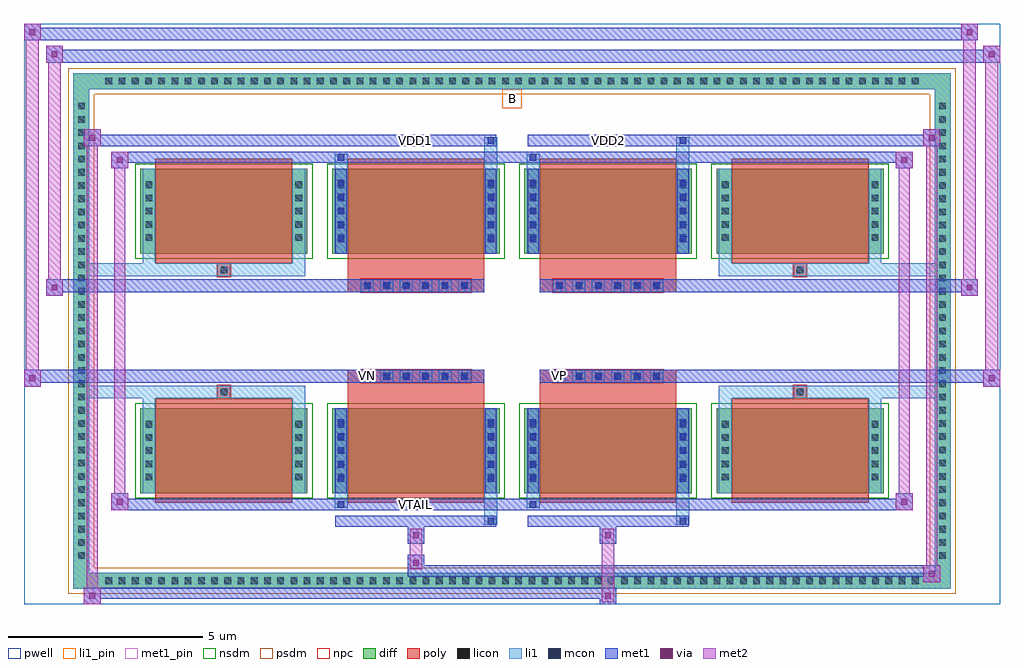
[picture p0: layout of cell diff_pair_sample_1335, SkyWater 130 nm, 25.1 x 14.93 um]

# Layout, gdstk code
import gdstk
lib = gdstk.Library(unit=1e-6, precision=5e-09)
def R(c, l, rs):  # rectangles x0, y0, x1, y1
    for r in rs: c.add(gdstk.rectangle(r[:2], r[2:], *l))
def A(c, l, x, y, w, h, nx, ny, dx, dy):  # array of equal rectangles
    R(c, l, [(x+i*dx, y+j*dy, x+i*dx+w, y+j*dy+h) for i in range(nx) for j in range(ny)])
def P(c, l, *ps):  # polygons
    for p in ps: c.add(gdstk.Polygon(p, *l))
pwell = (64, 44)
diff = (65, 20)
poly = (66, 20)
licon = (66, 44)
li1_pin = (67, 16)
li1 = (67, 20)
mcon = (67, 44)
met1_pin = (68, 16)
met1 = (68, 20)
via = (68, 44)
met2 = (69, 20)
nsdm = (93, 44)
psdm = (94, 20)
npc = (95, 20)

diff_pair_sample_1335 = lib.new_cell('diff_pair_sample_1335')
R(diff_pair_sample_1335, pwell, [(-12.55,-7.03,12.55,7.9), (-9.87,-5.22,-0.01,-0.8), (0.01,-5.22,9.87,-0.8), (-9.87,0.8,-0.01,5.22), (0.01,0.8,9.87,5.22)])
A(diff_pair_sample_1335, diff, -10.575, -6.63, 0.41, 0.41, 62, 2, 0.34, 12.85)
A(diff_pair_sample_1335, diff, -11.28, -5.985, 0.41, 0.41, 1, 35, 0, 0.34)
A(diff_pair_sample_1335, diff, 10.87, -5.985, 0.41, 0.41, 1, 35, 0, 0.34)
A(diff_pair_sample_1335, diff, -9.56, -4.175, 4.3, 2.19, 4, 2, 4.94, 6.16)
R(diff_pair_sample_1335, diff, [(-10.575,-6.63,10.575,-6.22), (-11.28,-5.985,-10.87,5.985), (10.87,-5.985,11.28,5.985), (-10.575,6.22,10.575,6.63)])
P(diff_pair_sample_1335, diff, [(11.28,6.63),(-11.28,6.63),(-11.28,-6.22),(-10.87,-6.22),(-10.87,6.22),(10.87,6.22),(10.87,-6.22),(-10.87,-6.22),(-11.28,-6.22),(-11.28,-6.63),(11.28,-6.63)])
A(diff_pair_sample_1335, poly, -9.17, -4.425, 3.52, 2.69, 4, 2, 4.94, 6.16)
A(diff_pair_sample_1335, poly, -3.885, -1.33, 0.33, 0.33, 6, 2, 0.5, 2.33)
A(diff_pair_sample_1335, poly, 1.055, -1.33, 0.33, 0.33, 6, 2, 0.5, 2.33)
R(diff_pair_sample_1335, poly, [(-7.575,-1.735,-7.245,-1.405), (-7.575,-1.735,-7.245,-1.405), (-4.23,-1.735,-0.71,-1.33), (0.71,-1.735,4.23,-1.33), (7.245,-1.735,7.575,-1.405), (7.245,-1.735,7.575,-1.405), (-4.23,-1.33,-0.71,-1), (0.71,-1.33,4.23,-1), (-4.23,1,-0.71,1.33), (0.71,1,4.23,1.33), (-4.23,1.33,-0.71,1.735), (0.71,1.33,4.23,1.735), (-7.575,1.405,-7.245,1.735), (-7.575,1.405,-7.245,1.735), (7.245,1.405,7.575,1.735), (7.245,1.405,7.575,1.735)])
A(diff_pair_sample_1335, licon, -10.455, -6.51, 0.17, 0.17, 62, 2, 0.34, 12.85)
A(diff_pair_sample_1335, licon, -11.16, -5.865, 0.17, 0.17, 1, 35, 0, 0.34)
A(diff_pair_sample_1335, licon, 10.99, -5.865, 0.17, 0.17, 1, 35, 0, 0.34)
A(diff_pair_sample_1335, licon, -9.42, -3.845, 0.17, 0.17, 1, 5, 0, 0.34)
A(diff_pair_sample_1335, licon, -5.57, -3.845, 0.17, 0.17, 1, 5, 0, 0.34)
A(diff_pair_sample_1335, licon, -4.48, -3.845, 0.17, 0.17, 1, 5, 0, 0.34)
A(diff_pair_sample_1335, licon, -0.63, -3.845, 0.17, 0.17, 1, 5, 0, 0.34)
A(diff_pair_sample_1335, licon, 0.46, -3.845, 0.17, 0.17, 1, 5, 0, 0.34)
A(diff_pair_sample_1335, licon, 4.31, -3.845, 0.17, 0.17, 1, 5, 0, 0.34)
A(diff_pair_sample_1335, licon, 5.4, -3.845, 0.17, 0.17, 1, 5, 0, 0.34)
A(diff_pair_sample_1335, licon, 9.25, -3.845, 0.17, 0.17, 1, 5, 0, 0.34)
A(diff_pair_sample_1335, licon, -3.805, -1.25, 0.17, 0.17, 6, 2, 0.5, 2.33)
A(diff_pair_sample_1335, licon, 1.135, -1.25, 0.17, 0.17, 6, 2, 0.5, 2.33)
A(diff_pair_sample_1335, licon, -9.42, 2.315, 0.17, 0.17, 1, 5, 0, 0.34)
A(diff_pair_sample_1335, licon, -5.57, 2.315, 0.17, 0.17, 1, 5, 0, 0.34)
A(diff_pair_sample_1335, licon, -4.48, 2.315, 0.17, 0.17, 1, 5, 0, 0.34)
A(diff_pair_sample_1335, licon, -0.63, 2.315, 0.17, 0.17, 1, 5, 0, 0.34)
A(diff_pair_sample_1335, licon, 0.46, 2.315, 0.17, 0.17, 1, 5, 0, 0.34)
A(diff_pair_sample_1335, licon, 4.31, 2.315, 0.17, 0.17, 1, 5, 0, 0.34)
A(diff_pair_sample_1335, licon, 5.4, 2.315, 0.17, 0.17, 1, 5, 0, 0.34)
A(diff_pair_sample_1335, licon, 9.25, 2.315, 0.17, 0.17, 1, 5, 0, 0.34)
R(diff_pair_sample_1335, licon, [(-7.495,-1.655,-7.325,-1.485), (7.325,-1.655,7.495,-1.485), (-7.495,1.485,-7.325,1.655), (7.325,1.485,7.495,1.655)])
R(diff_pair_sample_1335, li1_pin, [(-0.25,5.72,0.25,6.22)])
A(diff_pair_sample_1335, li1, -10.535, -6.59, 0.33, 0.33, 62, 2, 0.34, 12.85)
A(diff_pair_sample_1335, li1, -11.24, -5.945, 0.33, 0.33, 1, 35, 0, 0.34)
A(diff_pair_sample_1335, li1, 10.91, -5.945, 0.33, 0.33, 1, 35, 0, 0.34)
A(diff_pair_sample_1335, li1, -9.5, -3.925, 0.33, 0.33, 1, 5, 0, 0.34)
A(diff_pair_sample_1335, li1, -5.65, -3.925, 0.33, 0.33, 1, 5, 0, 0.34)
A(diff_pair_sample_1335, li1, -4.56, -3.925, 0.33, 0.33, 1, 5, 0, 0.34)
A(diff_pair_sample_1335, li1, -0.71, -3.925, 0.33, 0.33, 1, 5, 0, 0.34)
A(diff_pair_sample_1335, li1, 0.38, -3.925, 0.33, 0.33, 1, 5, 0, 0.34)
A(diff_pair_sample_1335, li1, 4.23, -3.925, 0.33, 0.33, 1, 5, 0, 0.34)
A(diff_pair_sample_1335, li1, 5.32, -3.925, 0.33, 0.33, 1, 5, 0, 0.34)
A(diff_pair_sample_1335, li1, 9.17, -3.925, 0.33, 0.33, 1, 5, 0, 0.34)
A(diff_pair_sample_1335, li1, -4.48, -3.885, 0.17, 0.17, 1, 5, 0, 0.36)
A(diff_pair_sample_1335, li1, -0.63, -3.885, 0.17, 0.17, 1, 5, 0, 0.36)
A(diff_pair_sample_1335, li1, 0.46, -3.885, 0.17, 0.17, 1, 5, 0, 0.36)
A(diff_pair_sample_1335, li1, 4.31, -3.885, 0.17, 0.17, 1, 5, 0, 0.36)
A(diff_pair_sample_1335, li1, -3.885, -1.33, 0.33, 0.33, 6, 2, 0.5, 2.33)
A(diff_pair_sample_1335, li1, 1.055, -1.33, 0.33, 0.33, 6, 2, 0.5, 2.33)
A(diff_pair_sample_1335, li1, -9.5, 2.235, 0.33, 0.33, 1, 5, 0, 0.34)
A(diff_pair_sample_1335, li1, -5.65, 2.235, 0.33, 0.33, 1, 5, 0, 0.34)
A(diff_pair_sample_1335, li1, -4.56, 2.235, 0.33, 0.33, 1, 5, 0, 0.34)
A(diff_pair_sample_1335, li1, -0.71, 2.235, 0.33, 0.33, 1, 5, 0, 0.34)
A(diff_pair_sample_1335, li1, 0.38, 2.235, 0.33, 0.33, 1, 5, 0, 0.34)
A(diff_pair_sample_1335, li1, 4.23, 2.235, 0.33, 0.33, 1, 5, 0, 0.34)
A(diff_pair_sample_1335, li1, 5.32, 2.235, 0.33, 0.33, 1, 5, 0, 0.34)
A(diff_pair_sample_1335, li1, 9.17, 2.235, 0.33, 0.33, 1, 5, 0, 0.34)
A(diff_pair_sample_1335, li1, -4.48, 2.275, 0.17, 0.17, 1, 5, 0, 0.36)
A(diff_pair_sample_1335, li1, -0.63, 2.275, 0.17, 0.17, 1, 5, 0, 0.36)
A(diff_pair_sample_1335, li1, 0.46, 2.275, 0.17, 0.17, 1, 5, 0, 0.36)
A(diff_pair_sample_1335, li1, 4.31, 2.275, 0.17, 0.17, 1, 5, 0, 0.36)
R(diff_pair_sample_1335, li1, [(-11.28,-6.63,-10.87,-6.22), (-11.28,-6.63,-10.87,-6.22), (-10.87,-6.63,10.87,-6.22), (10.87,-6.63,11.28,-6.22), (10.87,-6.63,11.28,-6.22), (-11.28,-6.22,-10.87,6.22), (10.87,-6.22,11.28,6.22), (-0.71,-4.98,-0.38,-4.175), (-0.63,-4.98,-0.46,-4.81), (4.23,-4.98,4.56,-4.175), (4.31,-4.98,4.48,-4.81), (-4.56,-4.55,-4.23,-4.175), (-4.48,-4.55,-4.31,-4.38), (0.38,-4.55,0.71,-4.175), (0.46,-4.55,0.63,-4.38), (-9.5,-4.175,-9.17,-1.985), (-5.65,-4.175,-5.32,-1.985), (-4.56,-4.175,-4.23,-1.985), (-0.71,-4.175,-0.38,-1.985), (0.38,-4.175,0.71,-1.985), (4.23,-4.175,4.56,-1.985), (5.32,-4.175,5.65,-1.985), (9.17,-4.175,9.5,-1.985), (-4.48,-3.885,-4.31,-2.275), (-0.63,-3.885,-0.46,-2.275), (0.46,-3.885,0.63,-2.275), (4.31,-3.885,4.48,-2.275), (-9.5,-1.985,-9.17,-1.405), (-5.65,-1.985,-5.32,-1.405), (5.32,-1.985,5.65,-1.405), (9.17,-1.985,9.5,-1.405), (-11.28,-1.735,-7.575,-1.405), (-9.5,-1.735,-7.575,-1.405), (-7.575,-1.735,-7.245,-1.405), (-7.245,-1.735,-5.32,-1.405), (5.32,-1.735,7.245,-1.405), (7.245,-1.735,7.575,-1.405), (7.245,-1.735,11.28,-1.405), (7.575,-1.735,9.5,-1.405), (-11.28,1.405,-7.575,1.735), (-9.5,1.405,-7.575,1.735), (-9.5,1.405,-9.17,1.985), (-7.575,1.405,-7.245,1.735), (-7.245,1.405,-5.32,1.735), (-5.65,1.405,-5.32,1.985), (5.32,1.405,7.245,1.735), (5.32,1.405,5.65,1.985), (7.245,1.405,7.575,1.735), (7.245,1.405,11.28,1.735), (7.575,1.405,9.5,1.735), (9.17,1.405,9.5,1.985), (-9.5,1.985,-9.17,4.175), (-5.65,1.985,-5.32,4.175), (-4.56,1.985,-4.23,4.175), (-0.71,1.985,-0.38,4.175), (0.38,1.985,0.71,4.175), (4.23,1.985,4.56,4.175), (5.32,1.985,5.65,4.175), (9.17,1.985,9.5,4.175), (-4.48,2.275,-4.31,3.885), (-0.63,2.275,-0.46,3.885), (0.46,2.275,0.63,3.885), (4.31,2.275,4.48,3.885), (-4.56,4.175,-4.23,4.55), (-0.71,4.175,-0.38,4.98), (0.38,4.175,0.71,4.55), (4.23,4.175,4.56,4.98), (-4.48,4.38,-4.31,4.55), (0.46,4.38,0.63,4.55), (-0.63,4.81,-0.46,4.98), (4.31,4.81,4.48,4.98), (-11.28,6.22,-10.87,6.63), (-11.28,6.22,-10.87,6.63), (-10.87,6.22,10.87,6.63), (10.87,6.22,11.28,6.63), (10.87,6.22,11.28,6.63)])
A(diff_pair_sample_1335, mcon, -4.48, -3.885, 0.17, 0.17, 1, 5, 0, 0.36)
A(diff_pair_sample_1335, mcon, -0.63, -3.885, 0.17, 0.17, 1, 5, 0, 0.36)
A(diff_pair_sample_1335, mcon, 0.46, -3.885, 0.17, 0.17, 1, 5, 0, 0.36)
A(diff_pair_sample_1335, mcon, 4.31, -3.885, 0.17, 0.17, 1, 5, 0, 0.36)
A(diff_pair_sample_1335, mcon, -3.805, -1.25, 0.17, 0.17, 6, 2, 0.5, 2.33)
A(diff_pair_sample_1335, mcon, 1.135, -1.25, 0.17, 0.17, 6, 2, 0.5, 2.33)
A(diff_pair_sample_1335, mcon, -4.48, 2.275, 0.17, 0.17, 1, 5, 0, 0.36)
A(diff_pair_sample_1335, mcon, -0.63, 2.275, 0.17, 0.17, 1, 5, 0, 0.36)
A(diff_pair_sample_1335, mcon, 0.46, 2.275, 0.17, 0.17, 1, 5, 0, 0.36)
A(diff_pair_sample_1335, mcon, 4.31, 2.275, 0.17, 0.17, 1, 5, 0, 0.36)
R(diff_pair_sample_1335, mcon, [(-0.63,-4.98,-0.46,-4.81), (4.31,-4.98,4.48,-4.81), (-4.48,-4.55,-4.31,-4.38), (0.46,-4.55,0.63,-4.38), (-4.48,4.38,-4.31,4.55), (0.46,4.38,0.63,4.55), (-0.63,4.81,-0.46,4.98), (4.31,4.81,4.48,4.98)])
R(diff_pair_sample_1335, met1_pin, [(-2.605,-4.59,-2.335,-4.32), (-3.855,-1.29,-3.585,-1.02), (1.085,-1.29,1.355,-1.02), (-2.605,4.77,-2.335,5.04), (2.335,4.77,2.605,5.04)])
A(diff_pair_sample_1335, met1, -4.54, -3.945, 0.29, 0.29, 1, 5, 0, 0.36)
A(diff_pair_sample_1335, met1, -0.69, -3.945, 0.29, 0.29, 1, 5, 0, 0.36)
A(diff_pair_sample_1335, met1, 0.4, -3.945, 0.29, 0.29, 1, 5, 0, 0.36)
A(diff_pair_sample_1335, met1, 4.25, -3.945, 0.29, 0.29, 1, 5, 0, 0.36)
A(diff_pair_sample_1335, met1, -3.865, -1.31, 0.29, 0.29, 6, 2, 0.5, 2.33)
A(diff_pair_sample_1335, met1, 1.075, -1.31, 0.29, 0.29, 6, 2, 0.5, 2.33)
A(diff_pair_sample_1335, met1, -4.54, 2.215, 0.29, 0.29, 1, 5, 0, 0.36)
A(diff_pair_sample_1335, met1, -0.69, 2.215, 0.29, 0.29, 1, 5, 0, 0.36)
A(diff_pair_sample_1335, met1, 0.4, 2.215, 0.29, 0.29, 1, 5, 0, 0.36)
A(diff_pair_sample_1335, met1, 4.25, 2.215, 0.29, 0.29, 1, 5, 0, 0.36)
R(diff_pair_sample_1335, met1, [(-11.01,-7.03,-10.58,-6.6), (2.255,-7.03,2.685,-6.6), (-11.01,-6.89,2.685,-6.6), (10.58,-6.46,11.01,-6.03), (-2.685,-6.32,11.01,-6.03), (-2.685,-6.18,-2.255,-5.75), (-2.685,-5.47,-2.255,-5.04), (2.255,-5.47,2.685,-5.04), (-4.54,-5.04,-0.4,-4.75), (-0.69,-5.04,-0.4,-4.75), (0.4,-5.04,4.54,-4.75), (4.25,-5.04,4.54,-4.75), (-10.3,-4.61,-9.87,-4.18), (-10.3,-4.61,-4.54,-4.32), (-4.54,-4.61,-4.25,-4.32), (-4.54,-4.61,-0.4,-4.32), (-0.4,-4.61,0.4,-4.32), (0.4,-4.61,0.69,-4.32), (0.4,-4.61,4.54,-4.32), (4.54,-4.61,10.3,-4.32), (9.87,-4.61,10.3,-4.18), (-4.54,-4.175,-4.25,-1.985), (-0.69,-4.175,-0.4,-1.985), (0.4,-4.175,0.69,-1.985), (4.25,-4.175,4.54,-1.985), (-12.55,-1.43,-12.12,-1), (12.12,-1.43,12.55,-1), (-12.55,-1.33,-0.71,-1), (-4.23,-1.33,-0.71,-1), (0.71,-1.33,4.23,-1), (0.71,-1.33,12.55,-1), (-11.98,0.9,-11.55,1.33), (11.55,0.9,11.98,1.33), (-11.98,1,-4.23,1.33), (-4.23,1,-0.71,1.33), (0.71,1,4.23,1.33), (4.23,1,11.98,1.33), (-4.54,1.985,-4.25,4.175), (-0.69,1.985,-0.4,4.175), (0.4,1.985,0.69,4.175), (4.25,1.985,4.54,4.175), (-10.3,4.18,-9.87,4.61), (9.87,4.18,10.3,4.61), (-10.3,4.32,-4.54,4.61), (-4.54,4.32,-4.25,4.61), (-4.54,4.32,-0.4,4.61), (-0.4,4.32,0.4,4.61), (0.4,4.32,0.69,4.61), (0.4,4.32,4.54,4.61), (4.54,4.32,10.3,4.61), (-11.01,4.75,-10.58,5.18), (-11.01,4.75,-4.54,5.04), (-4.54,4.75,-0.4,5.04), (-0.69,4.75,-0.4,5.04), (0.4,4.75,4.54,5.04), (4.25,4.75,4.54,5.04), (4.54,4.75,11.01,5.04), (10.58,4.75,11.01,5.18), (-11.98,6.9,-11.55,7.33), (-11.98,6.9,-9.87,7.23), (-9.87,6.9,9.87,7.23), (9.87,6.9,12.55,7.23), (12.12,6.9,12.55,7.33), (-12.55,7.47,-12.12,7.9), (-12.55,7.47,-9.87,7.8), (-9.87,7.47,9.87,7.8), (9.87,7.47,11.98,7.8), (11.55,7.47,11.98,7.9)])
R(diff_pair_sample_1335, via, [(-10.87,-6.89,-10.72,-6.74), (2.395,-6.89,2.545,-6.74), (10.72,-6.32,10.87,-6.17), (-2.545,-6.04,-2.395,-5.89), (-2.545,-5.33,-2.395,-5.18), (2.395,-5.33,2.545,-5.18), (-10.16,-4.47,-10.01,-4.32), (10.01,-4.47,10.16,-4.32), (-12.41,-1.29,-12.26,-1.14), (12.26,-1.29,12.41,-1.14), (-11.84,1.04,-11.69,1.19), (11.69,1.04,11.84,1.19), (-10.16,4.32,-10.01,4.47), (10.01,4.32,10.16,4.47), (-10.87,4.89,-10.72,5.04), (10.72,4.89,10.87,5.04), (-11.84,7.04,-11.69,7.19), (12.26,7.04,12.41,7.19), (-12.41,7.61,-12.26,7.76), (11.69,7.61,11.84,7.76)])
R(diff_pair_sample_1335, met2, [(-11.01,-7.03,-10.58,-6.6), (-10.94,-7.03,-10.65,5.18), (-10.65,-7.03,-10.58,-6.6), (-10.96,-6.98,-10.63,-6.65), (2.305,-6.98,2.635,-6.65), (2.305,-6.65,2.635,-5.42), (10.58,-6.46,11.01,-6.03), (10.65,-6.46,10.94,5.18), (10.94,-6.46,11.01,-6.03), (10.63,-6.41,10.96,-6.08), (-2.635,-6.13,-2.305,-5.8), (-2.635,-5.8,-2.305,-5.42), (-2.635,-5.42,-2.305,-5.09), (2.305,-5.42,2.635,-5.09), (-10.3,-4.61,-9.87,-4.18), (-10.23,-4.61,-9.94,4.61), (-9.94,-4.61,-9.87,-4.18), (9.87,-4.61,10.3,-4.18), (9.94,-4.61,10.23,4.61), (10.23,-4.61,10.3,-4.18), (-10.25,-4.56,-9.92,-4.23), (9.92,-4.56,10.25,-4.23), (-12.55,-1.43,-12.12,-1), (-12.5,-1.43,-12.17,7.9), (-12.17,-1.43,-12.12,-1), (12.12,-1.43,12.55,-1), (12.17,-1.43,12.5,7.33), (12.5,-1.43,12.55,-1), (-12.5,-1.38,-12.17,-1.05), (12.17,-1.38,12.5,-1.05), (-11.98,0.9,-11.55,1.33), (-11.93,0.9,-11.6,7.33), (-11.6,0.9,-11.55,1.33), (11.55,0.9,11.98,1.33), (11.6,0.9,11.93,7.9), (11.93,0.9,11.98,1.33), (-11.93,0.95,-11.6,1.28), (11.6,0.95,11.93,1.28), (-10.3,4.18,-9.87,4.61), (-9.94,4.18,-9.87,4.61), (9.87,4.18,10.3,4.61), (10.23,4.18,10.3,4.61), (-10.25,4.23,-9.92,4.56), (9.92,4.23,10.25,4.56), (-11.01,4.75,-10.58,5.18), (-10.65,4.75,-10.58,5.18), (10.58,4.75,11.01,5.18), (10.94,4.75,11.01,5.18), (-10.96,4.8,-10.63,5.13), (10.63,4.8,10.96,5.13), (-11.98,6.9,-11.55,7.33), (-11.6,6.9,-11.55,7.33), (12.12,6.9,12.55,7.33), (12.5,6.9,12.55,7.33), (-11.93,6.95,-11.6,7.28), (12.17,6.95,12.5,7.28), (-12.55,7.47,-12.12,7.9), (-12.17,7.47,-12.12,7.9), (11.55,7.47,11.98,7.9), (11.93,7.47,11.98,7.9), (-12.5,7.52,-12.17,7.85), (11.6,7.52,11.93,7.85)])
A(diff_pair_sample_1335, nsdm, -9.69, -4.305, 4.56, 2.45, 4, 2, 4.94, 6.16)
P(diff_pair_sample_1335, psdm, [(11.41,6.76),(-11.41,6.76),(-11.41,-6.09),(-10.74,-6.09),(-10.74,6.09),(10.74,6.09),(10.74,-6.09),(-10.74,-6.09),(-11.41,-6.09),(-11.41,-6.76),(11.41,-6.76)])
A(diff_pair_sample_1335, npc, -3.905, -1.35, 0.37, 0.37, 6, 2, 0.5, 2.33)
A(diff_pair_sample_1335, npc, 1.035, -1.35, 0.37, 0.37, 6, 2, 0.5, 2.33)
R(diff_pair_sample_1335, npc, [(-7.595,-1.755,-7.225,-1.385), (7.225,-1.755,7.595,-1.385), (-3.905,-1.35,-3.035,-0.98), (-3.905,-1.35,-3.035,-0.98), (-3.405,-1.35,-2.535,-0.98), (-3.405,-1.35,-2.535,-0.98), (-2.905,-1.35,-2.035,-0.98), (-2.905,-1.35,-2.035,-0.98), (-2.405,-1.35,-1.535,-0.98), (-2.405,-1.35,-1.535,-0.98), (-1.905,-1.35,-1.035,-0.98), (-1.905,-1.35,-1.035,-0.98), (1.035,-1.35,1.905,-0.98), (1.035,-1.35,1.905,-0.98), (1.535,-1.35,2.405,-0.98), (1.535,-1.35,2.405,-0.98), (2.035,-1.35,2.905,-0.98), (2.035,-1.35,2.905,-0.98), (2.535,-1.35,3.405,-0.98), (2.535,-1.35,3.405,-0.98), (3.035,-1.35,3.905,-0.98), (3.035,-1.35,3.905,-0.98), (-3.905,0.98,-3.035,1.35), (-3.905,0.98,-3.035,1.35), (-3.405,0.98,-2.535,1.35), (-3.405,0.98,-2.535,1.35), (-2.905,0.98,-2.035,1.35), (-2.905,0.98,-2.035,1.35), (-2.405,0.98,-1.535,1.35), (-2.405,0.98,-1.535,1.35), (-1.905,0.98,-1.035,1.35), (-1.905,0.98,-1.035,1.35), (1.035,0.98,1.905,1.35), (1.035,0.98,1.905,1.35), (1.535,0.98,2.405,1.35), (1.535,0.98,2.405,1.35), (2.035,0.98,2.905,1.35), (2.035,0.98,2.905,1.35), (2.535,0.98,3.405,1.35), (2.535,0.98,3.405,1.35), (3.035,0.98,3.905,1.35), (3.035,0.98,3.905,1.35), (-7.595,1.385,-7.225,1.755), (7.225,1.385,7.595,1.755)])
diff_pair_sample_1335.add(gdstk.Label('VTAIL', (-2.47,-4.455), layer=68, texttype=5))
diff_pair_sample_1335.add(gdstk.Label('VN', (-3.72,-1.155), layer=68, texttype=5))
diff_pair_sample_1335.add(gdstk.Label('VP', (1.22,-1.155), layer=68, texttype=5))
diff_pair_sample_1335.add(gdstk.Label('B', (0,5.97), layer=67, texttype=5))
diff_pair_sample_1335.add(gdstk.Label('VDD2', (2.47,4.905), layer=68, texttype=5))
diff_pair_sample_1335.add(gdstk.Label('VDD1', (-2.47,4.905), layer=68, texttype=5))

lib.write_gds('diff_pair_sample_1335.gds')
